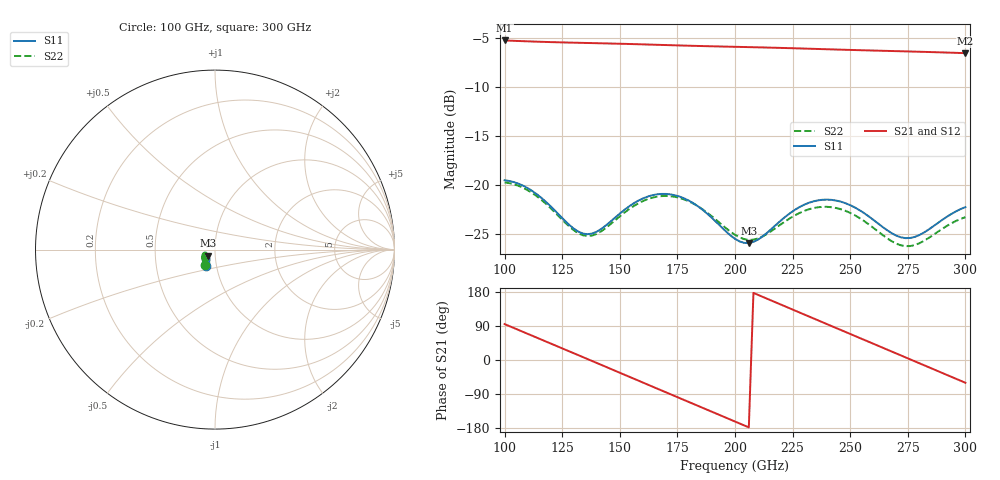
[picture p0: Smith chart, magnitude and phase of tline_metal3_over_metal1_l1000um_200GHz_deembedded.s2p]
! Created with skrf 2.0.1 (http://scikit-rf.org).
# GHz S DB R 50.0
!freq dBS11 angS11 dBS21 angS21 dBS12 angS12 dBS22 angS22
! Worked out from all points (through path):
!   101 points, 100 GHz to 300 GHz, reference 50 ohm
!   highest |S21| = -5.27 dB at 100 GHz (marker M1); lowest = -6.6 dB at 300 GHz (marker M2)
!   group delay of S21, straight-line fit = 7.15 ps
!   lowest |S11| = -25.9 dB at 206 GHz (marker M3), VSWR 1.11, Z = 46.3 - j3.22 ohm
!   |S11| at or under -10 dB: start of sweep to end of sweep
!   |S22| runs from -26.2 to -19.7 dB; largest |S21 - S12| = 5.8e-14
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100  -19.53 -119.9  -5.27 94.8  -5.27 94.8  -19.75 -122.0
108  -20.07 -130.9  -5.34 74.2  -5.34 74.2  -20.29 -133.3
116  -21.33 -139.5  -5.41 53.8  -5.41 53.8  -21.53 -142.1
126  -23.61 -141.6  -5.47 28.1  -5.47 28.1  -23.78 -144.8
134  -24.96 -132.7  -5.52 7.6  -5.52 7.6  -25.13 -136.6
142  -24.48 -121.1  -5.56 -13.0  -5.56 -13.0  -24.72 -125.5
150  -22.92 -118.0  -5.60 -33.6  -5.60 -33.6  -23.20 -122.4
160  -21.38 -124.5  -5.67 -59.4  -5.67 -59.4  -21.65 -128.9
168  -20.92 -133.4  -5.72 -80.0  -5.72 -80.0  -21.14 -137.9
182  -21.88 -148.6  -5.82 -116.1  -5.82 -116.1  -21.92 -153.4
192  -23.82 -152.9  -5.88 -141.8  -5.88 -141.8  -23.60 -158.8
200  -25.50 -146.8  -5.92 -162.4  -5.92 -162.4  -25.09 -155.3
206  -25.93 -136.7  -5.95 -177.8  -5.95 -177.8  -25.61 -148.0
218  -24.02 -124.0  -6.02 151.2  -6.02 151.2  -24.34 -137.3
234  -21.68 -132.8  -6.12 109.9  -6.12 109.9  -22.36 -145.1
242  -21.53 -140.9  -6.18 89.3  -6.18 89.3  -22.28 -152.8
250  -22.06 -148.1  -6.23 68.7  -6.23 68.7  -22.85 -159.9
260  -23.55 -152.4  -6.30 43.0  -6.30 43.0  -24.37 -164.1
268  -24.92 -148.5  -6.35 22.4  -6.35 22.4  -25.74 -160.3
276  -25.41 -138.3  -6.39 1.8  -6.39 1.8  -26.23 -150.4
284  -24.55 -129.7  -6.45 -18.8  -6.45 -18.8  -25.42 -142.4
300  -22.26 -131.8  -6.56 -60.1  -6.56 -60.1  -23.29 -145.3
